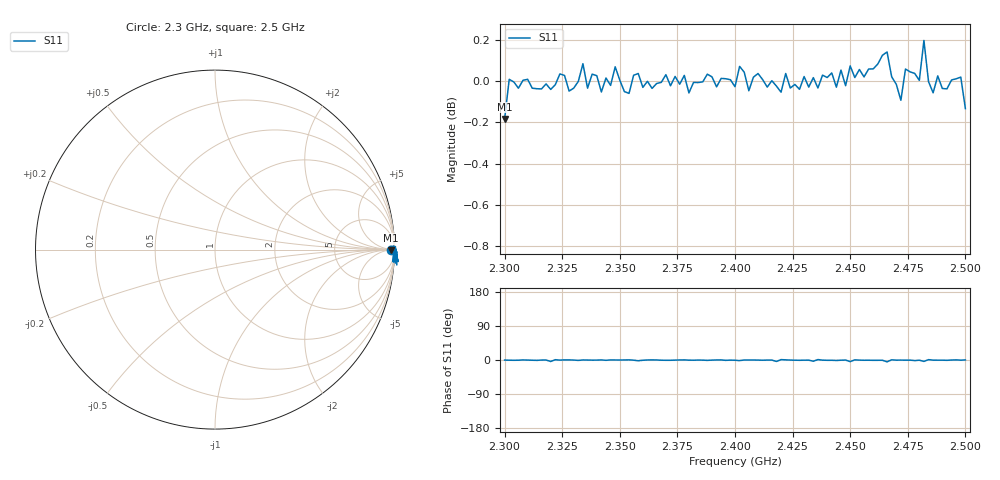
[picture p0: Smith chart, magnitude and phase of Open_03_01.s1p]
# HZ S RI R 50
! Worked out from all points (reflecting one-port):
!   101 points, 2.3 GHz to 2.5 GHz, reference 50 ohm
!   lowest |S11| = -0.2 dB at 2.3 GHz (marker M1), VSWR 94.54, Z = 4.51e+03 - j983 ohm
!   phase of S11 starts at -0 deg and turns +1 deg over the sweep
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2.3e9  0.9791 -0.00451
2.318e9  0.9985 -1e-05
2.32e9  0.993 -0.0689
2.322e9  0.998 0.0141
2.326e9  1.003 0.00631
2.35e9  1.001 -0.000141
2.358e9  1.004 -0.0335
2.364e9  0.996 0.00534
2.376e9  0.9983 0.0014
2.4e9  0.9969 -0.0115
2.416e9  1 -0.00343
2.418e9  0.995 -0.067
2.42e9  0.9938 0.0177
2.426e9  0.9982 -0.00906
2.432e9  0.9967 -0.0072
2.434e9  1 -0.0571
2.436e9  0.996 0.0196
2.448e9  0.9975 -0.00282
2.45e9  1.006 -0.0746
2.452e9  1.002 0.00767
2.464e9  1.015 -0.0128
2.466e9  1.013 -0.0856
2.468e9  1.002 0.0092
2.476e9  1.005 -0.00563
2.48e9  1 -0.009
2.482e9  1.021 -0.0666
2.484e9  0.9997 0.0161
2.5e9  0.9848 0.00443
